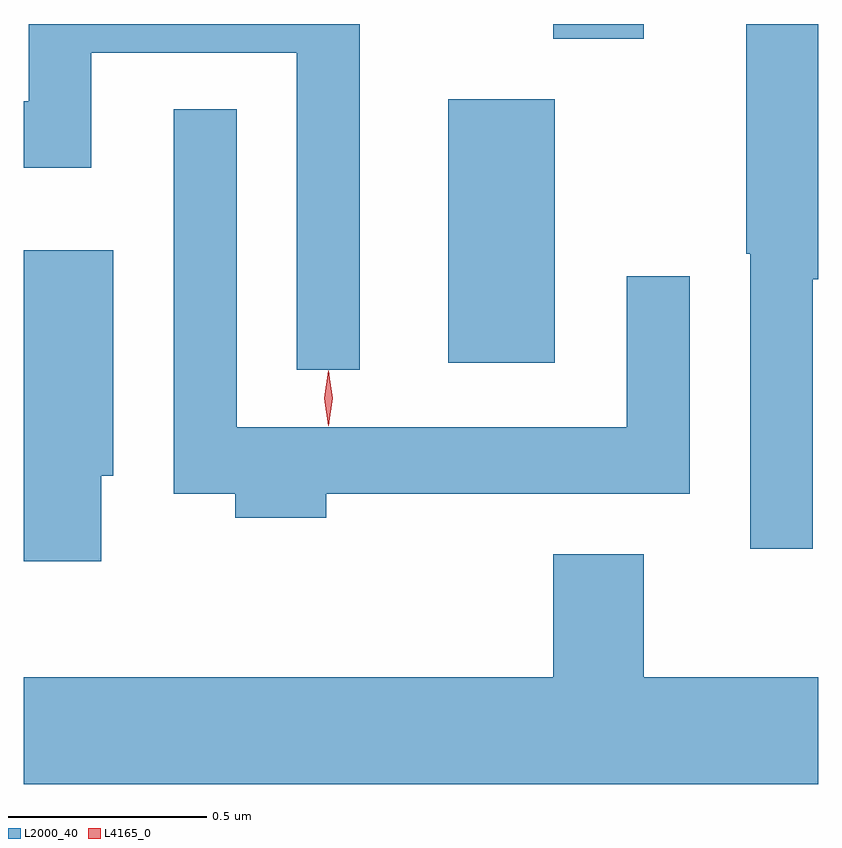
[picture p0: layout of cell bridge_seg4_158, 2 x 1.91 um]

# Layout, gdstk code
import gdstk
lib = gdstk.Library(unit=1e-6, precision=1e-09)
def R(c, l, rs):  # rectangles x0, y0, x1, y1
    for r in rs: c.add(gdstk.rectangle(r[:2], r[2:], *l))
def P(c, l, *ps):  # polygons
    for p in ps: c.add(gdstk.Polygon(p, *l))
L2000_40 = (2000, 40)
L4165_0 = (4165, 0)

bridge_seg4_158 = lib.new_cell('bridge_seg4_158')
R(bridge_seg4_158, L2000_40, [(902.716,1309.116,902.984,1309.779), (902.981,1309.931,903.209,1309.968)])
P(bridge_seg4_158, L2000_40, [(903.634,1309.326),(903.648,1309.326),(903.648,1309.968),(903.466,1309.968),(903.466,1309.39),(903.476,1309.39),(903.476,1308.648),(903.634,1308.648)],
  [(902.494,1309.968),(901.661,1309.968),(901.661,1309.774),(901.648,1309.774),(901.648,1309.606),(901.819,1309.606),(901.819,1309.896),(902.336,1309.896),(902.336,1309.098),(902.494,1309.098)],
  [(902.409,1308.786),(903.324,1308.786),(903.324,1309.333),(903.166,1309.333),(903.166,1308.954),(902.184,1308.954),(902.184,1309.753),(902.026,1309.753),(902.026,1308.786),(902.181,1308.786),(902.181,1308.726),(902.409,1308.726)],
  [(901.844,1308.831),(901.874,1308.831),(901.874,1309.399),(901.648,1309.399),(901.648,1308.616),(901.844,1308.616)],
  [(903.648,1308.324),(903.209,1308.324),(903.209,1308.634),(902.981,1308.634),(902.981,1308.324),(901.648,1308.324),(901.648,1308.056),(903.648,1308.056)])
P(bridge_seg4_158, L4165_0, [(902.415,1308.957),(902.415,1308.957),(902.405,1309.027),(902.415,1309.096),(902.415,1309.096),(902.416,1309.096),(902.425,1309.027),(902.416,1308.957)],
  [(902.416,1308.959),(902.415,1308.96),(902.406,1309.026),(902.415,1309.092),(902.416,1309.093),(902.416,1309.092),(902.426,1309.026),(902.416,1308.96)])

lib.write_gds('bridge_seg4_158.gds')
